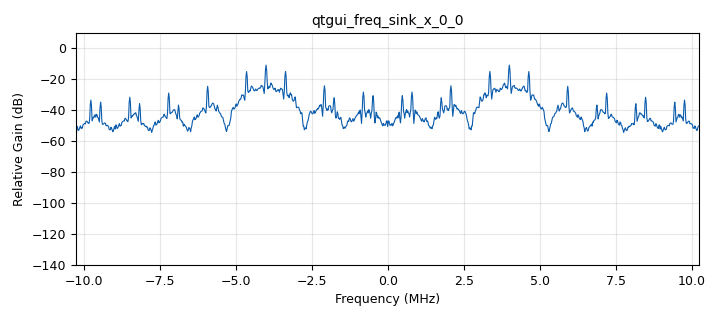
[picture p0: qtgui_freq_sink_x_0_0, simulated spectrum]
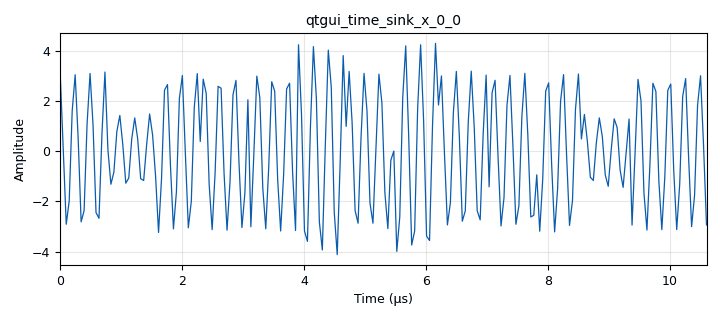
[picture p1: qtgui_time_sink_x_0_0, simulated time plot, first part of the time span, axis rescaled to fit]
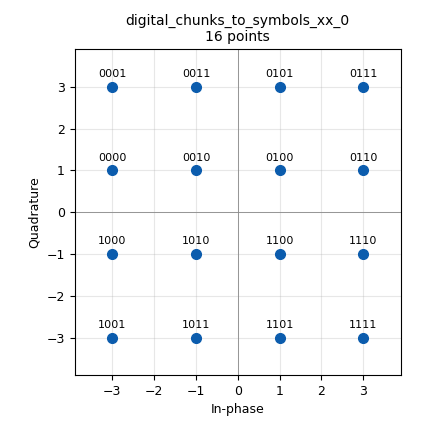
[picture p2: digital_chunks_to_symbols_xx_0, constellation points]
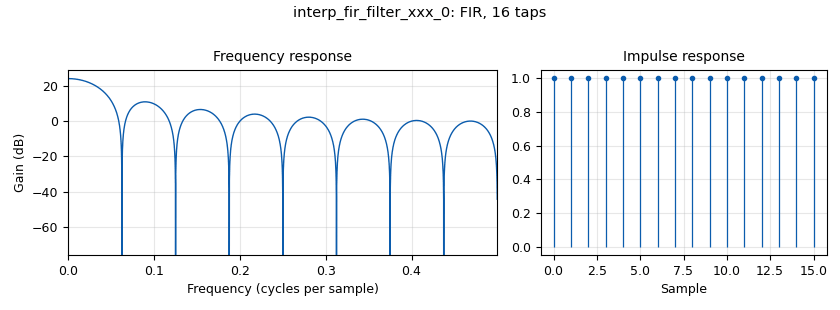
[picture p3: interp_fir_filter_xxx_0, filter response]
options:
  parameters:
    author: radiogis_director
    generate_options: qt_gui
    id: top_block
    output_language: python
    title: top_block
  states: {}

blocks:
- name: M
  id: variable
  parameters:
    value: len(tabla_de_verdad_constelacion )
  states: {}
- name: Rb
  id: variable
  parameters:
    value: Rs*bps
  states: {}
- name: Rs
  id: variable
  parameters:
    value: '32000'
  states: {}
- name: Sps
  id: variable
  parameters:
    value: '16'
  states: {}
- name: bps
  id: variable
  parameters:
    value: int(math.log(M,2))
  states: {}
- name: fc
  id: variable
  parameters:
    value: 100e3
  states: {}
- name: h
  id: variable
  parameters:
    value: '[1]*Sps'
  states: {}
- name: samp_rate
  id: variable
  parameters:
    value: Rs*Sps*40
  states: {}
- name: tabla_de_verdad_constelacion
  id: variable
  parameters:
    value: (-3+1j,-3+3j,-1+1j,-1+3j,1+1j,1+3j,3+1j,3+3j,-3-1j,-3-3j,-1-1j,-1-3j,1-1j,1-3j,3-1j,3-3j)
  states: {}
- name: analog_const_source_x_0
  id: analog_const_source_x
  parameters:
    const: '1'
    type: float
  states: {state: disabled}
- name: analog_const_source_x_0_0
  id: analog_const_source_x
  parameters:
    const: fc
    type: float
  states: {state: disabled}
- name: analog_noise_source_x_0
  id: analog_noise_source_x
  parameters:
    amp: '0'
    noise_type: analog.GR_GAUSSIAN
    seed: '0'
    type: complex
  states: {state: disabled}
- name: analog_noise_source_x_0_0
  id: analog_noise_source_x
  parameters:
    amp: '0.05'
    noise_type: analog.GR_GAUSSIAN
    seed: '0'
    type: float
  states: {}
- name: analog_random_source_x_0
  id: analog_random_source_x
  parameters:
    max: '2'
    min: '0'
    num_samps: '1000'
    repeat: 'True'
    type: byte
  states: {}
- name: analog_sig_source_x_0
  id: analog_sig_source_x
  parameters:
    amp: '1'
    freq: fc
    offset: '0'
    phase: '0'
    samp_rate: Rs*Sps
    type: float
    waveform: analog.GR_COS_WAVE
  states: {}
- name: analog_sig_source_x_0_0
  id: analog_sig_source_x
  parameters:
    amp: '1'
    freq: fc
    offset: '0'
    phase: '0'
    samp_rate: Rs*Sps
    type: float
    waveform: analog.GR_SIN_WAVE
  states: {}
- name: blocks_add_xx_0
  id: blocks_add_xx
  parameters:
    type: complex
  states: {state: disabled}
- name: blocks_add_xx_0_0
  id: blocks_add_xx
  parameters:
    type: float
  states: {}
- name: blocks_add_xx_0_1
  id: blocks_add_xx
  parameters:
    type: float
  states: {}
- name: blocks_complex_to_arg_0
  id: blocks_complex_to_arg
  parameters: {}
  states: {state: disabled}
- name: blocks_complex_to_imag_0
  id: blocks_complex_to_imag
  parameters: {}
  states: {}
- name: blocks_complex_to_real_0
  id: blocks_complex_to_real
  parameters: {}
  states: {}
- name: blocks_float_to_complex_0
  id: blocks_float_to_complex
  parameters: {}
  states: {state: disabled}
- name: blocks_multiply_const_vxx_0
  id: blocks_multiply_const_vxx
  parameters:
    const: 1/math.sqrt(10)
    type: complex
  states: {state: disabled}
- name: blocks_multiply_xx_0
  id: blocks_multiply_xx
  parameters:
    type: float
  states: {}
- name: blocks_multiply_xx_0_0
  id: blocks_multiply_xx
  parameters:
    type: float
  states: {}
- name: blocks_pack_k_bits_bb_0
  id: blocks_pack_k_bits_bb
  parameters:
    k: '4'
  states: {}
- name: blocks_packed_to_unpacked_xx_0
  id: blocks_packed_to_unpacked_xx
  parameters:
    bits_per_chunk: bps
    endianness: gr.GR_MSB_FIRST
    type: byte
  states: {}
- name: blocks_throttle2_0
  id: blocks_throttle2
  parameters:
    samples_per_second: samp_rate
    type: complex
  states: {state: disabled}
- name: blocks_throttle2_0_0
  id: blocks_throttle2
  parameters:
    samples_per_second: samp_rate
    type: float
  states: {}
- name: digital_chunks_to_symbols_xx_0
  id: digital_chunks_to_symbols_xx
  parameters:
    dimension: '1'
    in_type: byte
    out_type: complex
    symbol_table: tabla_de_verdad_constelacion
  states: {}
- name: epy_block_0
  id: epy_block
  parameters:
    _source_code: "\"\"\"\nEmbedded Python Blocks:\n\nEach time this file is saved, GRC will instantiate the first class it finds\nto get ports and parameters of your block. The arguments to __init__  will\nbe the parameters. All of them are required to have default values!\n\"\"\"\n\nimport numpy as np\nfrom gnuradio import gr\n\n\nclass blk(gr.sync_block):  # other base classes are basic_block, decim_block, interp_block\n    \"\"\"Embedded Python Block example - a simple multiply const\"\"\"\n\n    def __init__(self, example_param=1.0):  # only default arguments here\n        \"\"\"arguments to this function show up as parameters in GRC\"\"\"\n        gr.sync_block.__init__(\n            self,\n            name='VCO Complex',   # will show up in GRC\n            in_sig=[np.float32, np.float32],\n            out_sig=[np.complex64]\n        )\n        # if an attribute with the same name as a parameter is found,\n        # a callback is registered (properties work, too).\n        self.example_param = example_param\n\n    def work(self, input_items, output_items):\n        Q=input_items[1]\n        A=input_items[0]\n        Sec=output_items[0]\n        Sec[:]=A*np.exp(1.j*Q)\n        return len(Sec)\n\n\n        "
    example_param: '1.0'
  states: {state: disabled}
- name: import_0
  id: import
  parameters:
    imports: import math
  states: {}
- name: interp_fir_filter_xxx_0
  id: interp_fir_filter_xxx
  parameters:
    interp: Sps
    taps: h
    type: ccf
  states: {}
- name: qtgui_const_sink_x_0
  id: qtgui_const_sink_x
  parameters:
    grid: 'True'
    size: '1024'
    type: complex
  states: {state: disabled}
- name: qtgui_freq_sink_x_0
  id: qtgui_freq_sink_x
  parameters:
    average: '0.05'
    bw: samp_rate
    fc: '0'
    fftsize: '1024'
    type: complex
  states: {state: disabled}
- name: qtgui_freq_sink_x_0_0
  id: qtgui_freq_sink_x
  parameters:
    average: '0.05'
    bw: samp_rate
    fc: '0'
    fftsize: '1024'
    type: float
  states: {}
- name: qtgui_time_sink_x_0
  id: qtgui_time_sink_x
  parameters:
    size: '1024'
    srate: samp_rate
    type: complex
  states: {state: disabled}
- name: qtgui_time_sink_x_0_0
  id: qtgui_time_sink_x
  parameters:
    size: '1024'
    srate: samp_rate
    type: float
  states: {}
- name: virtual_sink_0
  id: virtual_sink
  parameters:
    stream_id: p1
  states: {state: disabled}
- name: virtual_sink_0_0
  id: virtual_sink
  parameters:
    stream_id: p0
  states: {state: disabled}
- name: virtual_source_0
  id: virtual_source
  parameters:
    stream_id: p1
  states: {state: disabled}
- name: virtual_source_0_0
  id: virtual_source
  parameters:
    stream_id: p0
  states: {state: disabled}

connections:
- [analog_const_source_x_0_0, '0', epy_block_0, '1']
- [analog_noise_source_x_0, '0', blocks_add_xx_0, '0']
- [analog_noise_source_x_0_0, '0', blocks_add_xx_0_1, '0']
- [analog_random_source_x_0, '0', blocks_pack_k_bits_bb_0, '0']
- [analog_sig_source_x_0, '0', blocks_multiply_xx_0, '1']
- [analog_sig_source_x_0_0, '0', blocks_multiply_xx_0_0, '1']
- [blocks_add_xx_0, '0', virtual_sink_0, '0']
- [blocks_add_xx_0_0, '0', blocks_throttle2_0_0, '0']
- [blocks_add_xx_0_0, '0', qtgui_freq_sink_x_0_0, '0']
- [blocks_add_xx_0_1, '0', qtgui_time_sink_x_0_0, '0']
- [blocks_complex_to_arg_0, '0', epy_block_0, '0']
- [blocks_complex_to_imag_0, '0', blocks_multiply_xx_0_0, '0']
- [blocks_complex_to_real_0, '0', blocks_multiply_xx_0, '0']
- [blocks_float_to_complex_0, '0', blocks_throttle2_0, '0']
- [blocks_multiply_const_vxx_0, '0', blocks_complex_to_arg_0, '0']
- [blocks_multiply_const_vxx_0, '0', blocks_throttle2_0, '0']
- [blocks_multiply_xx_0, '0', blocks_add_xx_0_0, '0']
- [blocks_multiply_xx_0_0, '0', blocks_add_xx_0_0, '1']
- [blocks_pack_k_bits_bb_0, '0', blocks_packed_to_unpacked_xx_0, '0']
- [blocks_packed_to_unpacked_xx_0, '0', digital_chunks_to_symbols_xx_0, '0']
- [blocks_throttle2_0, '0', blocks_add_xx_0, '1']
- [blocks_throttle2_0_0, '0', blocks_add_xx_0_1, '1']
- [digital_chunks_to_symbols_xx_0, '0', interp_fir_filter_xxx_0, '0']
- [epy_block_0, '0', blocks_add_xx_0, '1']
- [interp_fir_filter_xxx_0, '0', blocks_complex_to_imag_0, '0']
- [interp_fir_filter_xxx_0, '0', blocks_complex_to_real_0, '0']
- [interp_fir_filter_xxx_0, '0', blocks_multiply_const_vxx_0, '0']
- [interp_fir_filter_xxx_0, '0', virtual_sink_0_0, '0']
- [virtual_source_0, '0', qtgui_const_sink_x_0, '0']
- [virtual_source_0, '0', qtgui_time_sink_x_0, '0']
- [virtual_source_0_0, '0', qtgui_freq_sink_x_0, '0']

metadata:
  file_format: 1
  grc_version: 3.10.12.0
